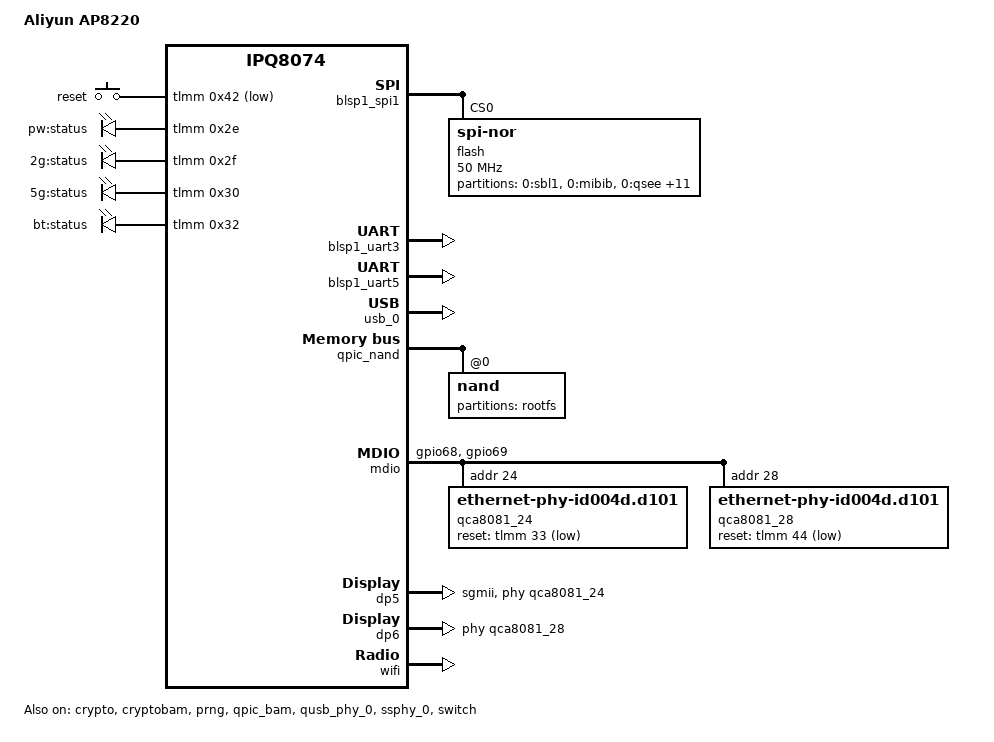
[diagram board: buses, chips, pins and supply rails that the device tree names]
// SPDX-License-Identifier: GPL-2.0-or-later OR MIT

/dts-v1/;

#include "ipq8074.dtsi"
#include "ipq8074-ac-cpu.dtsi"
#include "ipq8074-ess.dtsi"
#include "ipq8074-nss.dtsi"
#include <dt-bindings/gpio/gpio.h>
#include <dt-bindings/input/input.h>
#include <dt-bindings/leds/common.h>

/ {
	model = "Aliyun AP8220";
	compatible = "aliyun,ap8220", "qcom,ipq8074";
	
	aliases {
		serial0 = &blsp1_uart5;
		serial1 = &blsp1_uart3;
		led-boot = &led_pw;
		led-failsafe = &led_pw;
		led-running = &led_pw;
		led-upgrade = &led_pw;
		ethernet4 = &dp5;
		ethernet5 = &dp6;
		label-mac-device = &dp6;
	};

	chosen {
		stdout-path = "serial0:115200n8";
		bootargs-append = " root=/dev/ubiblock0_1";
	};

	keys {
		compatible = "gpio-keys";
		pinctrl-0 = <&button_pins>;
		pinctrl-names = "default";
		
		reset {
			label = "reset";
			gpios = <&tlmm 0x42 GPIO_ACTIVE_LOW>;
			linux,code = <KEY_RESTART>;
		};
	};
	
	leds {
		compatible = "gpio-leds";

		led_pw: led-pw {
			label = "pw:status";
			gpios = <&tlmm 0x2e GPIO_ACTIVE_HIGH>;
		};

		led_2g: led-2g {
			label = "2g:status";
			gpios = <&tlmm 0x2f GPIO_ACTIVE_HIGH>;
		};

		led_5g: led-5g {
			label = "5g:status";
			gpios = <&tlmm 0x30 GPIO_ACTIVE_HIGH>;
		};

		led_bt: led-bt {
			label = "bt:status";
			gpios = <&tlmm 0x32 GPIO_ACTIVE_HIGH>;
		};
	};
};

&tlmm {
	mdio_pins: mdio-pins {
		mdc {
			pins = "gpio68";
			function = "mdc";
			drive-strength = <0x08>;
			bias-pull-up;
		};

		mdio {
			pins = "gpio69";
			function = "mdio";
			drive-strength = <0x08>;
			bias-pull-up;
		};
	};

	button_pins: button_pins {
		reset_button {
			pins = "gpio66";
			function = "gpio";
			drive-strength = <0x08>;
			bias-pull-up;
		};
	};
};

&blsp1_spi1 {
	pinctrl-0 = <&spi_0_pins>;
	pinctrl-names = "default";
	cs-select = <0>;
	status = "okay";

	flash@0 {
		compatible = "jedec,spi-nor";
		#address-cells = <1>;
		#size-cells = <1>;
		reg = <0>;
		spi-max-frequency = <50000000>;

		partitions {
			compatible = "fixed-partitions";
			#address-cells = <1>;
			#size-cells = <1>;

			partition@0 {
				label = "0:sbl1";
				reg = <0x00 0x50000>;
			};

			partition@50000 {
				label = "0:mibib";
				reg = <0x50000 0x10000>;
			};

			partition@60000 {
				label = "0:qsee";
				reg = <0x60000 0x180000>;
			};

			partition@1e0000 {
				label = "0:devcfg";
				reg = <0x1e0000 0x10000>;
			};

			partition@1f0000 {
				label = "0:apdp";
				reg = <0x1f0000 0x10000>;
			};

			partition@200000 {
				label = "0:rpm";
				reg = <0x200000 0x40000>;
			};

			partition@240000 {
				label = "0:cdt";
				reg = <0x240000 0x10000>;
			};

			partition@250000 {
				label = "0:appsblenv";
				reg = <0x250000 0x10000>;
			};

			partition@260000 {
				label = "0:appsbl";
				reg = <0x260000 0xa0000>;
			};

			partition@300000 {
				label = "0:art";
				reg = <0x300000 0x40000>;
			};

			partition@340000 {
				label = "0:ethphyfw";
				reg = <0x340000 0x80000>;
			};

			partition@3c0000 {
				label = "product_info";
				reg = <0x3c0000 0x10000>;
			};

			partition@3d0000 {
				label = "mtdoops";
				reg = <0x3d0000 0x20000>;
			};

			partition@3f0000 {
				label = "priv_data1";
				reg = <0x3f0000 0x10000>;
			};
		};
	};
};

&blsp1_uart3 {
	status = "okay";
};

&blsp1_uart5 {
	status = "okay";
};

&crypto {
	status = "okay";
};

&cryptobam {
	status = "okay";
};

&prng {
	status = "okay";
};

&qpic_bam {
	status = "okay";
};

&qusb_phy_0 {
	status = "okay";
};

&ssphy_0 {
	status = "okay";
};

&usb_0 {
	status = "okay";
};

&qpic_nand {
	status = "okay";

	nand@0 {
		reg = <0>;
		#address-cells = <0x01>;
		#size-cells = <0x01>;
		nand-ecc-strength = <0x04>;
		nand-ecc-step-size = <0x200>;
		nand-bus-width = <0x08>;

		partition@0 {
			label = "rootfs";
			reg = <0x00 0x8000000>;
		};
	};
};

&mdio {
	status = "okay";

	pinctrl-0 = <&mdio_pins>;
	pinctrl-names = "default";

	qca8081_24: ethernet-phy@24 {
		compatible = "ethernet-phy-id004d.d101";
		reg = <24>;
		reset-deassert-us = <10000>;
		reset-gpios = <&tlmm 33 GPIO_ACTIVE_LOW>;
	};

	qca8081_28: ethernet-phy@28 {
		compatible = "ethernet-phy-id004d.d101";
		reg = <28>;
		reset-deassert-us = <10000>;
		reset-gpios = <&tlmm 44 GPIO_ACTIVE_LOW>;
	};
};

&switch {
	status = "okay";

	switch_lan_bmp = <ESS_PORT6>;
	switch_wan_bmp = <ESS_PORT5>;
	switch_mac_mode1 = <MAC_MODE_SGMII_CHANNEL0>;
	switch_mac_mode2 = <MAC_MODE_SGMII_CHANNEL0>;

	qcom,port_phyinfo {
		port@5 {
			port_id = <5>;
			phy_address = <24>;
			port_mac_sel = "QGMAC_PORT";
		};

		port@6 {
			port_id = <6>;
			phy_address = <28>;
			port_mac_sel = "QGMAC_PORT";
		};
	};
};

&edma {
	status = "okay";
};

&dp5 {
	status = "okay";
	phy-mode = "sgmii";
	phy-handle = <&qca8081_24>;
	label = "wan";
};

&dp6 {
	status = "okay";
	phy-handle = <&qca8081_28>;
	label = "lan";
};

&wifi {
	status = "okay";
	qcom,ath11k-fw-memory-mode = <1>;
	qcom,ath11k-calibration-variant = "Aliyun-AP8220";
};
